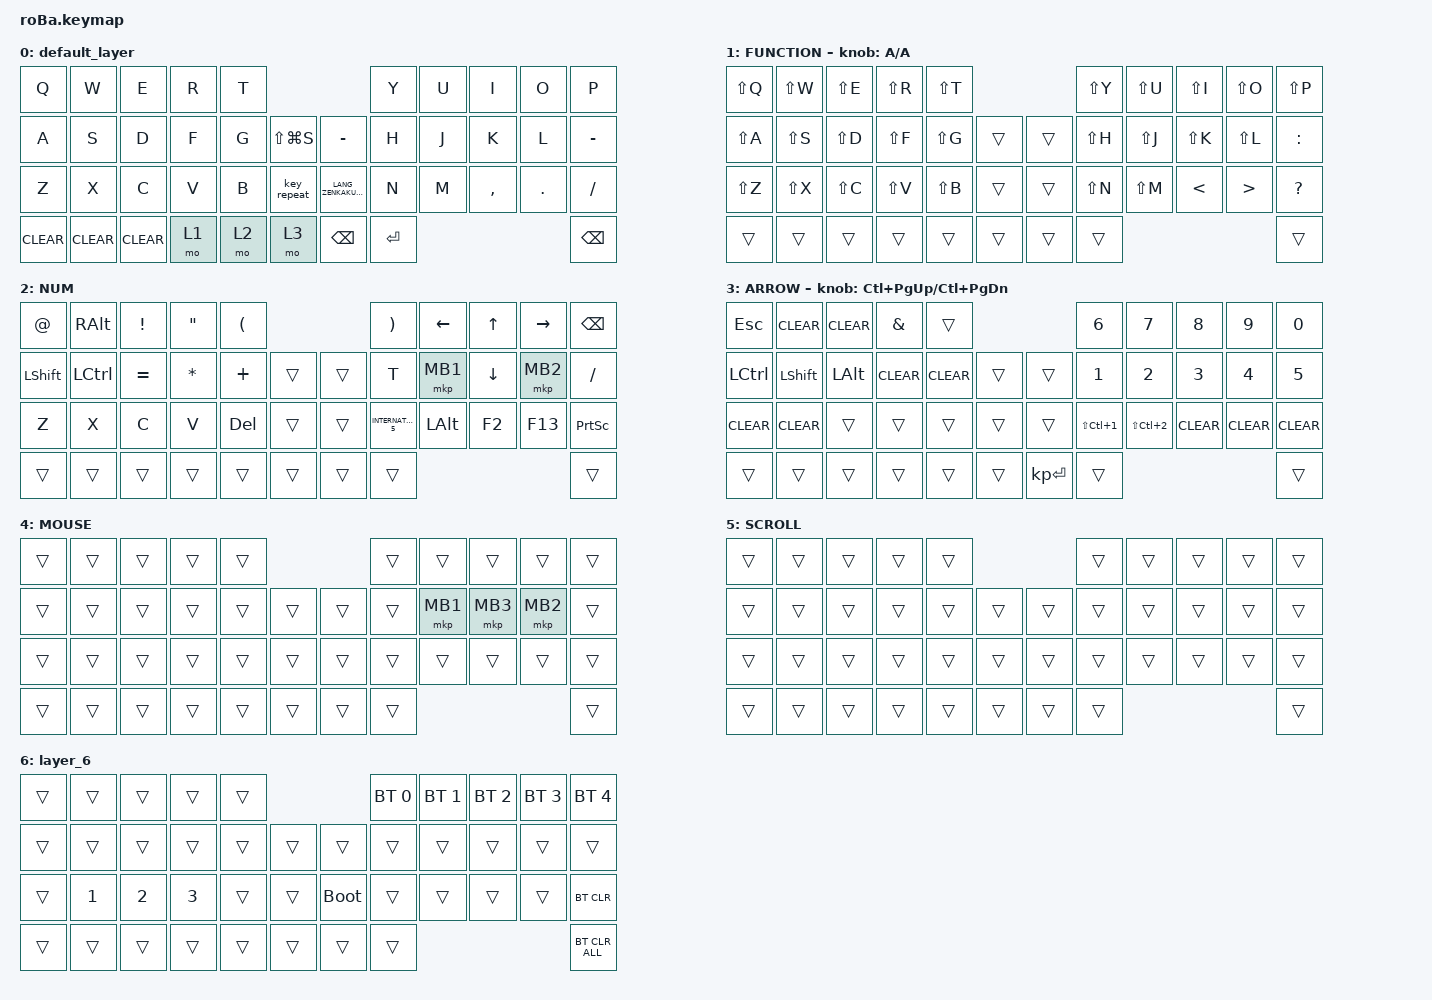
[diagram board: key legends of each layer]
#include <behaviors.dtsi>
#include <dt-bindings/zmk/bt.h>
#include <dt-bindings/zmk/keys.h>
#include <dt-bindings/zmk/pointing.h>

#define MOUSE 4
#define SCROLL 5
#define NUM 6

&mt {
    flavor = "balanced";
    quick-tap-ms = <0>;
};

/ {
    combos {
        compatible = "zmk,combos";

        tab {
            bindings = <&kp TAB>;
            key-positions = <11 12>;
        };

        shift_tab {
            bindings = <&kp LS(TAB)>;
            key-positions = <12 13>;
        };

        muhennkann {
            bindings = <&to_layer_0 INT_MUHENKAN>;
            key-positions = <11 10>;
        };

        double_quotation {
            bindings = <&kp DOUBLE_QUOTES>;
            key-positions = <20 21>;
        };

        eq {
            bindings = <&kp EQUAL>;
            key-positions = <24 25>;
        };
    };

    macros {
        to_layer_0: to_layer_0 {
            compatible = "zmk,behavior-macro-one-param";
            #binding-cells = <1>;
            bindings = <&to 0 &macro_param_1to1 &kp MACRO_PLACEHOLDER>;
            label = "TO_LAYER_0";
        };
    };

    behaviors {
        lt_to_layer_0: lt_to_layer_0 {
            compatible = "zmk,behavior-hold-tap";
            label = "LAYER_TAP_TO_0";
            bindings = <&mo>, <&to_layer_0>;

            #binding-cells = <2>;
            tapping-term-ms = <200>;
        };
    };

    keymap {
        compatible = "zmk,keymap";

        default_layer {
            bindings = <
&kp Q      &kp W      &kp E      &kp R  &kp T                                              &kp Y      &kp U  &kp I      &kp O    &kp P
&kp A      &kp S      &kp D      &kp F  &kp G  &kp LS(LG(S))      &kp MINUS                &kp H      &kp J  &kp K      &kp L    &kp MINUS
&kp Z      &kp X      &kp C      &kp V  &kp B  &key_repeat        &kp LANG_ZENKAKUHANKAKU  &kp N      &kp M  &kp COMMA  &kp DOT  &kp SLASH
&kp CLEAR  &kp CLEAR  &kp CLEAR  &mo 1  &mo 2  &mo 3              &kp BACKSPACE            &kp ENTER                             &kp BACKSPACE
            >;
        };

        FUNCTION {
            bindings = <
&kp LS(Q)  &kp LS(W)  &kp LS(E)  &kp LS(R)  &kp LS(T)                      &kp LS(Y)  &kp LS(U)  &kp LS(I)      &kp LS(O)         &kp LS(P)
&kp LS(A)  &kp LS(S)  &kp LS(D)  &kp LS(F)  &kp LS(G)  &trans      &trans  &kp LS(H)  &kp LS(J)  &kp LS(K)      &kp LS(L)         &kp COLON
&kp LS(Z)  &kp LS(X)  &kp LS(C)  &kp LS(V)  &kp LS(B)  &trans      &trans  &kp LS(N)  &kp LS(M)  &kp LESS_THAN  &kp GREATER_THAN  &kp QUESTION
&trans     &trans     &trans     &trans     &trans     &trans      &trans  &trans                                                 &trans
            >;

            sensor-bindings = <&inc_dec_kp A A>;
        };

        NUM {
            bindings = <
&kp AT_SIGN     &kp RIGHT_ALT  &kp EXCLAMATION  &kp DOUBLE_QUOTES  &kp LEFT_PARENTHESIS                      &kp RIGHT_PARENTHESIS  &kp LEFT      &kp UP_ARROW    &kp RIGHT  &kp BACKSPACE
&kp LEFT_SHIFT  &kp LCTRL      &kp EQUAL        &kp ASTERISK       &kp PLUS              &trans      &trans  &kp T                  &mkp MB1      &kp DOWN_ARROW  &mkp MB2   &kp SLASH
&kp Z           &kp X          &kp C            &kp V              &kp DELETE            &trans      &trans  &kp INTERNATIONAL_5    &kp LEFT_ALT  &kp F2          &kp F13    &kp PRINTSCREEN
&trans          &trans         &trans           &trans             &trans                &trans      &trans  &trans                                                          &trans
            >;
        };

        ARROW {
            bindings = <
&kp ESCAPE  &kp CLEAR       &kp CLEAR     &kp AMPERSAND  &trans                               &kp NUMBER_6          &kp N7                &kp N8        &kp N9        &kp N0
&kp LCTRL   &kp LEFT_SHIFT  &kp LEFT_ALT  &kp CLEAR      &kp CLEAR  &trans      &trans        &kp NUMBER_1          &kp NUMBER_2          &kp NUMBER_3  &kp NUMBER_4  &kp N5
&kp CLEAR   &kp CLEAR       &trans        &trans         &trans     &trans      &trans        &kp LS(LC(NUMBER_1))  &kp LS(LC(NUMBER_2))  &kp CLEAR     &kp CLEAR     &kp CLEAR
&trans      &trans          &trans        &trans         &trans     &trans      &kp KP_ENTER  &trans                                                                  &trans
            >;

            sensor-bindings = <&inc_dec_kp LC(PAGE_UP) LC(PAGE_DOWN)>;
        };

        MOUSE {
            bindings = <
&trans  &trans  &trans  &trans  &trans                      &trans  &trans    &trans    &trans    &trans
&trans  &trans  &trans  &trans  &trans  &trans      &trans  &trans  &mkp MB1  &mkp MB3  &mkp MB2  &trans
&trans  &trans  &trans  &trans  &trans  &trans      &trans  &trans  &trans    &trans    &trans    &trans
&trans  &trans  &trans  &trans  &trans  &trans      &trans  &trans                                &trans
            >;
        };

        SCROLL {
            bindings = <
&trans  &trans  &trans  &trans  &trans                      &trans  &trans  &trans  &trans  &trans
&trans  &trans  &trans  &trans  &trans  &trans      &trans  &trans  &trans  &trans  &trans  &trans
&trans  &trans  &trans  &trans  &trans  &trans      &trans  &trans  &trans  &trans  &trans  &trans
&trans  &trans  &trans  &trans  &trans  &trans      &trans  &trans                          &trans
            >;
        };

        layer_6 {
            bindings = <
&trans  &trans        &trans        &trans        &trans                           &bt BT_SEL 0  &bt BT_SEL 1  &bt BT_SEL 2  &bt BT_SEL 3  &bt BT_SEL 4
&trans  &trans        &trans        &trans        &trans  &trans      &trans       &trans        &trans        &trans        &trans        &trans
&trans  &kp NUMBER_1  &kp NUMBER_2  &kp NUMBER_3  &trans  &trans      &bootloader  &trans        &trans        &trans        &trans        &bt BT_CLR
&trans  &trans        &trans        &trans        &trans  &trans      &trans       &trans                                                  &bt BT_CLR_ALL
            >;
        };
    };
};
